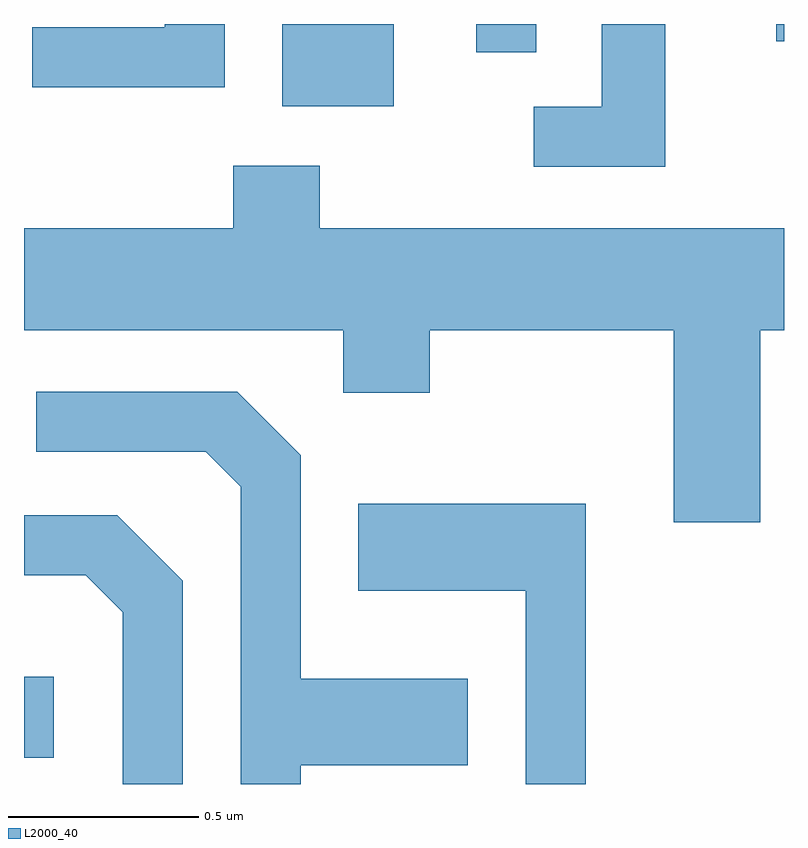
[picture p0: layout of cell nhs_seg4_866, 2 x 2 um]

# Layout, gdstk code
import gdstk
lib = gdstk.Library(unit=1e-6, precision=1e-09)
def R(c, l, rs):  # rectangles x0, y0, x1, y1
    for r in rs: c.add(gdstk.rectangle(r[:2], r[2:], *l))
def P(c, l, *ps):  # polygons
    for p in ps: c.add(gdstk.Polygon(p, *l))
L2000_40 = (2000, 40)

nhs_seg4_866 = lib.new_cell('nhs_seg4_866')
R(nhs_seg4_866, L2000_40, [(191.611,1298.051,191.689,1298.264), (192.291,1299.766,192.584,1299.982), (192.801,1299.908,192.959,1299.982), (193.591,1299.936,193.611,1299.982)])
P(nhs_seg4_866, L2000_40, [(192.139,1299.982),(191.981,1299.982),(191.981,1299.974),(191.633,1299.974),(191.633,1299.816),(192.139,1299.816)],
  [(193.299,1299.982),(193.131,1299.982),(193.131,1299.764),(192.953,1299.764),(192.953,1299.606),(193.299,1299.606)],
  [(193.549,1299.176),(193.611,1299.176),(193.611,1299.444),(192.389,1299.444),(192.389,1299.609),(192.161,1299.609),(192.161,1299.444),(191.611,1299.444),(191.611,1299.176),(192.451,1299.176),(192.451,1299.011),(192.679,1299.011),(192.679,1299.176),(193.321,1299.176),(193.321,1298.671),(193.549,1298.671)],
  [(192.339,1298.031),(192.779,1298.031),(192.779,1298.259),(192.339,1298.259),(192.339,1298.847),(192.172,1299.014),(191.643,1299.014),(191.643,1298.856),(192.089,1298.856),(192.181,1298.764),(192.181,1297.982),(192.339,1297.982)],
  [(193.089,1298.719),(192.491,1298.719),(192.491,1298.491),(192.931,1298.491),(192.931,1297.982),(193.089,1297.982)],
  [(192.029,1298.517),(191.857,1298.689),(191.611,1298.689),(191.611,1298.531),(191.774,1298.531),(191.871,1298.434),(191.871,1297.982),(192.029,1297.982)])

lib.write_gds('nhs_seg4_866.gds')
